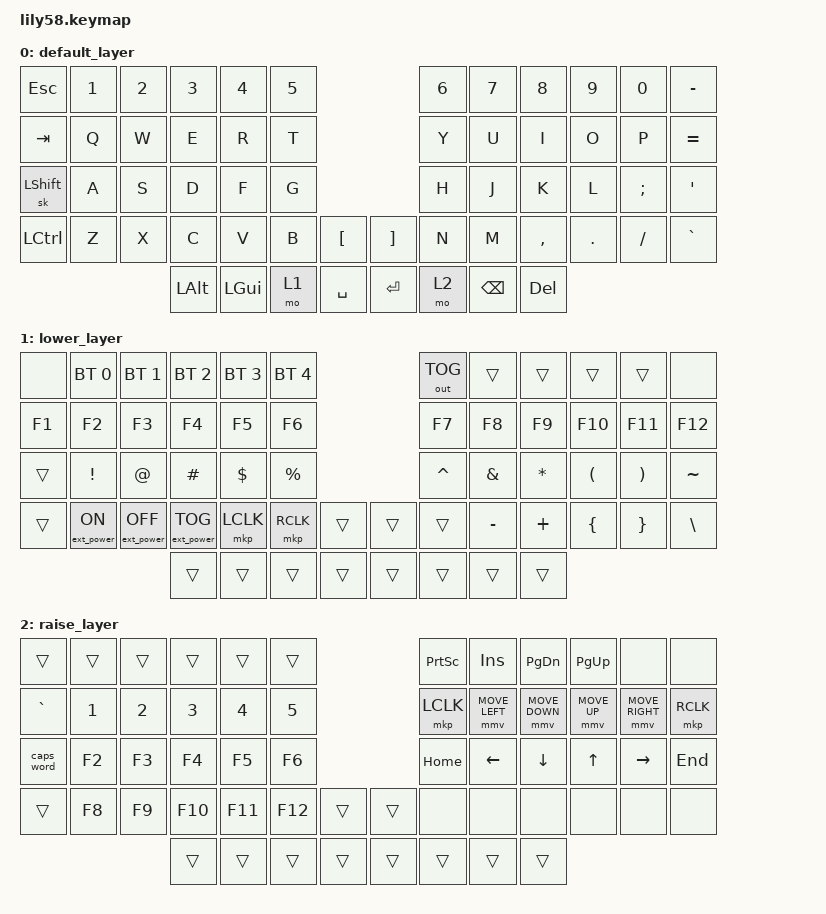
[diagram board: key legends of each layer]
/*
 * Copyright (c) 2020 The ZMK Contributors
 *
 * SPDX-License-Identifier: MIT
 */
// Mouse

#define ZMK_MOUSE_DEFAULT_SCRL_VAL 600 // Default 300

#include <input/processors.dtsi>
#include <dt-bindings/zmk/mouse.h>
#include <dt-bindings/zmk/input_transform.h>
#include <behaviors.dtsi>
#include <dt-bindings/zmk/bt.h>
#include <dt-bindings/zmk/ext_power.h>
#include <dt-bindings/zmk/keys.h>
#include <dt-bindings/zmk/outputs.h>
#include <dt-bindings/zmk/pointing.h>

#define BASE 0
#define LOWER 1
#define RAISE 2

&msc {
    time-to-max-speed-ms = <3000>;  // Default 300
    // acceleration exponent 0: uniform speed
    // acceleration exponent 1: uniform acceleration
    // acceleration exponent 2: uniform jerk

    acceleration-exponent = <0>;   // Default 1
};

/ {
    keymap {
        compatible = "zmk,keymap";

        default_layer {
            // ------------------------------------------------------------------------------------------------------------
            // |  ESC  |  1  |  2  |  3   |  4   |  5   |                   |  6   |  7    |  8    |  9   |   0   |   `   |
            // |  TAB  |  Q  |  W  |  E   |  R   |  T   |                   |  Y   |  U    |  I    |  O   |   P   |   -   |
            // |  CTRL |  A  |  S  |  D   |  F   |  G   |                   |  H   |  J    |  K    |  L   |   ;   |   '   |
            // | SHIFT |  Z  |  X  |  C   |  V   |  B   |   "["  |  |  "]"  |  N   |  M    |  ,    |  .   |   /   | SHIFT |
            //                     | ALT  | GUI  | LOWER|  SPACE |  | ENTER | RAISE| BSPC  | GUI   |

            bindings = <
&kp ESC           &kp N1  &kp N2  &kp N3    &kp N4    &kp N5                         &kp N6  &kp N7    &kp N8      &kp N9   &kp N0    &kp MINUS
&kp TAB           &kp Q   &kp W   &kp E     &kp R     &kp T                          &kp Y   &kp U     &kp I       &kp O    &kp P     &kp EQUAL
&sk LSHIFT        &kp A   &kp S   &kp D     &kp F     &kp G                          &kp H   &kp J     &kp K       &kp L    &kp SEMI  &kp SQT
&kp LEFT_CONTROL  &kp Z   &kp X   &kp C     &kp V     &kp B   &kp LBKT     &kp RBKT  &kp N   &kp M     &kp COMMA   &kp DOT  &kp FSLH  &kp GRAVE
                                  &kp LALT  &kp LGUI  &mo 1   &kp SPACE    &kp RET   &mo 2   &kp BSPC  &kp DELETE
            >;
        };

        lower_layer {
            // ------------------------------------------------------------------------------------------------------------
            // | BTCLR | BT1 | BT2 |  BT3 |  BT4 |  BT5 |                   |      |       |       |      |       |       |
            // |  F1   |  F2 |  F3 |  F4  |  F5  |  F6  |                   |  F7  |  F8   |  F9   |  F10 |  F11  |  F12  |
            // |   `   |  !  |  @  |  #   |  $   |  %   |                   |  ^   |  &    |  *    |  (   |   )   |   ~   |
            // |       |     |     |      |      |      |        |  |       |      |  _    |  +    |  {   |   }   |  "|"  |
            //                     |      |      |      |        |  |       |      |       |       |

            bindings = <
&none   &bt BT_SEL 0      &bt BT_SEL 1       &bt BT_SEL 2       &bt BT_SEL 3  &bt BT_SEL 4                    &out OUT_TOG  &trans     &trans     &trans    &trans    &none
&kp F1  &kp F2            &kp F3             &kp F4             &kp F5        &kp F6                          &kp F7        &kp F8     &kp F9     &kp F10   &kp F11   &kp F12
&trans  &kp EXCL          &kp AT             &kp HASH           &kp DOLLAR    &kp PRCNT                       &kp CARET     &kp AMPS   &kp ASTRK  &kp LPAR  &kp RPAR  &kp TILDE
&trans  &ext_power EP_ON  &ext_power EP_OFF  &ext_power EP_TOG  &mkp LCLK     &mkp RCLK     &trans    &trans  &trans        &kp MINUS  &kp PLUS   &kp LBRC  &kp RBRC  &kp BACKSLASH
                                             &trans             &trans        &trans        &trans    &trans  &trans        &trans     &trans
            >;
        };

        raise_layer {
            // ------------------------------------------------------------------------------------------------------------
            // |       |     |     |      |      |      |                   |      |       |       |      |       |       |
            // |   `   |  1  |  2  |  3   |  4   |  5   |                   |  6   |   7   |   8   |  9   |   0   |       |
            // |   F1  |  F2 |  F3 |  F4  |  F5  |  F6  |                   |      |   <-  |   v   |  ^   |  ->   |       |
            // |   F7  |  F8 |  F9 |  F10 |  F11 |  F12 |        |  |       |  +   |   -   |   =   |  [   |   ]   |   \   |
            //                     |      |      |      |        |  |       |      |       |       |

            bindings = <
&trans      &trans  &trans  &trans   &trans   &trans                     &kp PRINTSCREEN  &kp INSERT      &kp PAGE_DOWN   &kp PAGE_UP   &none            &none
&kp GRAVE   &kp N1  &kp N2  &kp N3   &kp N4   &kp N5                     &mkp LCLK        &mmv MOVE_LEFT  &mmv MOVE_DOWN  &mmv MOVE_UP  &mmv MOVE_RIGHT  &mkp RCLK
&caps_word  &kp F2  &kp F3  &kp F4   &kp F5   &kp F6                     &kp HOME         &kp LEFT        &kp DOWN        &kp UP        &kp RIGHT        &kp END
&trans      &kp F8  &kp F9  &kp F10  &kp F11  &kp F12  &trans    &trans  &none            &none           &none           &none         &none            &none
                            &trans   &trans   &trans   &trans    &trans  &trans           &trans          &trans
            >;
        };
    };
};
